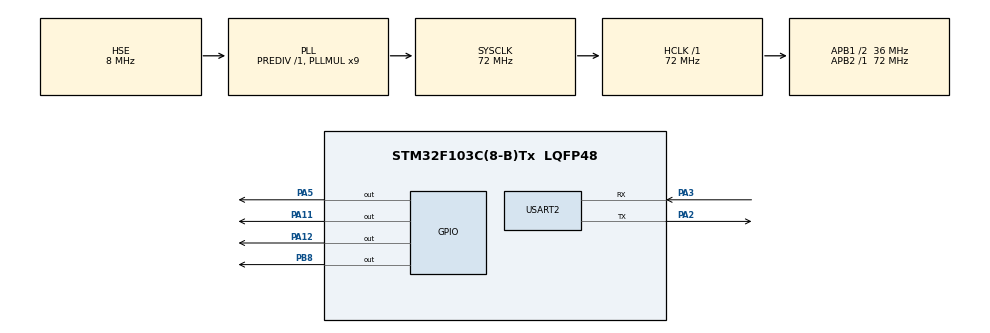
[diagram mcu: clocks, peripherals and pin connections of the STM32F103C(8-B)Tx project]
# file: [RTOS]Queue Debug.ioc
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FREERTOS.Tasks01=defaultTask,24,128,StartDefaultTask,Default,NULL,Dynamic,NULL,NULL;blinkLed2,8,128,StartTask02,Default,NULL,Dynamic,NULL,NULL;bilnkLed1,8,128,StartTask01,Default,NULL,Dynamic,NULL,NULL;UART2,8,128,StartTask03,Default,NULL,Dynamic,NULL,NULL
Mcu.Family=STM32F1
Mcu.Name=STM32F103C(8-B)Tx
Mcu.Package=LQFP48
NVIC.PriorityGroup=NVIC_PRIORITYGROUP_4
PA11.Signal=GPIO_Output
PA12.Signal=GPIO_Output
PA13.Mode=Serial_Wire
PA13.Signal=SYS_JTMS-SWDIO
PA14.Mode=Serial_Wire
PA14.Signal=SYS_JTCK-SWCLK
PA2.Mode=Asynchronous
PA2.Signal=USART2_TX
PA3.Mode=Asynchronous
PA3.Signal=USART2_RX
PA5.Signal=GPIO_Output
PB8.Signal=GPIO_Output
PD0-OSC_IN.Mode=HSE-External-Oscillator
PD0-OSC_IN.Signal=RCC_OSC_IN
PD1-OSC_OUT.Mode=HSE-External-Oscillator
PD1-OSC_OUT.Signal=RCC_OSC_OUT
ProjectManager.HeapSize=0x200
ProjectManager.StackSize=0x400
ProjectManager.TargetToolchain=STM32CubeIDE
RCC.AHBFreq_Value=72000000
RCC.APB1CLKDivider=RCC_HCLK_DIV2
RCC.APB1Freq_Value=36000000
RCC.APB1TimFreq_Value=72000000
RCC.APB2Freq_Value=72000000
RCC.APB2TimFreq_Value=72000000
RCC.HCLKFreq_Value=72000000
RCC.PLLMUL=RCC_PLL_MUL9
RCC.PLLSourceVirtual=RCC_PLLSOURCE_HSE
RCC.SYSCLKFreq_VALUE=72000000
RCC.SYSCLKSource=RCC_SYSCLKSOURCE_PLLCLK
RCC.USBFreq_Value=72000000
USART2.VirtualMode=VM_ASYNC
VP_FREERTOS_VS_CMSIS_V2.Mode=CMSIS_V2
board=custom

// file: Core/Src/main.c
/* USER CODE BEGIN Header */
/**
  ******************************************************************************
  * @file           : main.c
  * @brief          : Main program body
  ******************************************************************************
  * @attention
	Ví dụ này chỉ ra cách sử dụng queue, tận dụng queue để truyền dữ liệu liên tục với các giá trị 100 và 200 vào hàng đợi và đọc từ hàng đợi ngay khi hàng đợi có dữ liệu đồng thời in ra màn hình debug uart.
  *
  ******************************************************************************
  */
/* USER CODE END Header */
#include "main.h"
#include "cmsis_os.h"

/* USER CODE BEGIN Includes */
#include "string.h"
#include "stdio.h"
#include "stdint.h"
#include "stdlib.h"
/* USER CODE END Includes */
#include "queue.h"
#include "myLib.h"
#include "task.h"
#include "myRTOSaddons.h"

UART_HandleTypeDef huart2;

/* Definitions for blinkLed1 */
osThreadId_t blinkLed1Handle;
const osThreadAttr_t blinkLed1_attributes = {
    .name = "blinkLed1",
    .priority = (osPriority_t)osPriorityLow5,
    .stack_size = 32 * 4};
/* Definitions Sender Task*/
osThreadId_t SenderHandle1;
osThreadId_t SenderHandle2;
const osThreadAttr_t Sender_attributes = {
    .name = "Sender",
    .priority = (osPriority_t)osPriorityLow3,
    .stack_size = 128 * 4};
/* Definitions Receiver Task*/
osThreadId_t ReceiverHandle;
const osThreadAttr_t Receiver_attributes = {
    .name = "Receiver",
    .priority = (osPriority_t)osPriorityLow7, /* ReceiveTask is the highest priority task ==> Queue's always empty */
    .stack_size = 128 * 4};

/* USER CODE BEGIN PV */
osMessageQueueId_t queue_handle = NULL;
static uint32_t error_count = 0;
static uint32_t data_to_send[2] = {100, 200};
/* USER CODE END PV */

void SystemClock_Config(void);
static void MX_GPIO_Init(void);
static void MX_USART2_UART_Init(void);
void StartDefaultTask(void *argument);
void haltCheckLedTask(void *argument);
void senderTask(void *argument);
void receiverTask(void *argument);

int main(void)
{

  /* MCU Configuration--------------------------------------------------------*/

  /* Reset of all peripherals, Initializes the Flash interface and the Systick. */
  HAL_Init();

  /* Configure the system clock */
  SystemClock_Config();

  /* Initialize all configured peripherals */
  MX_GPIO_Init();
  MX_USART2_UART_Init();
  /* USER CODE BEGIN 2 */
  offAllLed;
  /* USER CODE END 2 */

  /* Init scheduler */
  osKernelInitialize();

  /* USER CODE BEGIN RTOS_QUEUES */
  /* add queues, ... */
  queue_handle = osMessageQueueNew(5, sizeof(uint32_t), NULL);
  if (queue_handle == NULL)
  {
    error_count++;
    PRINTF("Failed to create new queue\r\n");
  }
  /* USER CODE END RTOS_QUEUES */

  /* Create the thread(s) */

  /* creation of blinkLed1 */
  blinkLed1Handle = osThreadNew(haltCheckLedTask, NULL, &blinkLed1_attributes);

  /* USER CODE BEGIN RTOS_THREADS */
  /* creation of Sender task*/
  SenderHandle1 = osThreadNew(senderTask, (void *)data_to_send, &Sender_attributes);
  if (SenderHandle1 == NULL)
  {
    PRINTF("Failed creating senderTask1 \r\n");
    error_count++;
  }
  SenderHandle2 = osThreadNew(senderTask, (void *)(data_to_send + 1), &Sender_attributes);
  if (SenderHandle2 == NULL)
  {
    PRINTF("Failed creating senderTask2 \r\n");
    error_count++;
  }
  /* creation of Receiver task */
  ReceiverHandle = osThreadNew(receiverTask, NULL, &Receiver_attributes);
  if (ReceiverHandle == NULL)
  {
    PRINTF("Failed creating receiverTask \r\n");
    error_count++;
  }
  /* add threads, ... */
  printVar(error_count);
  /* USER CODE END RTOS_THREADS */

  /* Start scheduler */
  if (error_count == 0)
  {
    PRINTF("Start RTOS_Kernel\r\n");
    osKernelStart();
  }
  else
  {
    PRINTF("Failed to start RTOS_Kernel\r\n");
  }
  /* We should never get here as control is now taken by the scheduler */
  /* Infinite loop */
  while (1)
  {

  }
}

void SystemClock_Config(void)
{
  RCC_OscInitTypeDef RCC_OscInitStruct = {0};
  RCC_ClkInitTypeDef RCC_ClkInitStruct = {0};

  /** Initializes the RCC Oscillators according to the specified parameters
  * in the RCC_OscInitTypeDef structure.
  */
  RCC_OscInitStruct.OscillatorType = RCC_OSCILLATORTYPE_HSE;
  RCC_OscInitStruct.HSEState = RCC_HSE_ON;
  RCC_OscInitStruct.HSEPredivValue = RCC_HSE_PREDIV_DIV1;
  RCC_OscInitStruct.HSIState = RCC_HSI_ON;
  RCC_OscInitStruct.PLL.PLLState = RCC_PLL_ON;
  RCC_OscInitStruct.PLL.PLLSource = RCC_PLLSOURCE_HSE;
  RCC_OscInitStruct.PLL.PLLMUL = RCC_PLL_MUL9;
  if (HAL_RCC_OscConfig(&RCC_OscInitStruct) != HAL_OK)
  {
    Error_Handler();
  }
  /** Initializes the CPU, AHB and APB buses clocks
  */
  RCC_ClkInitStruct.ClockType = RCC_CLOCKTYPE_HCLK | RCC_CLOCKTYPE_SYSCLK | RCC_CLOCKTYPE_PCLK1 | RCC_CLOCKTYPE_PCLK2;
  RCC_ClkInitStruct.SYSCLKSource = RCC_SYSCLKSOURCE_PLLCLK;
  RCC_ClkInitStruct.AHBCLKDivider = RCC_SYSCLK_DIV1;
  RCC_ClkInitStruct.APB1CLKDivider = RCC_HCLK_DIV2;
  RCC_ClkInitStruct.APB2CLKDivider = RCC_HCLK_DIV1;

  if (HAL_RCC_ClockConfig(&RCC_ClkInitStruct, FLASH_LATENCY_2) != HAL_OK)
  {
    Error_Handler();
  }
}

static void MX_USART2_UART_Init(void)
{

  huart2.Instance = USART2;
  huart2.Init.BaudRate = 115200;
  huart2.Init.WordLength = UART_WORDLENGTH_8B;
  huart2.Init.StopBits = UART_STOPBITS_1;
  huart2.Init.Parity = UART_PARITY_NONE;
  huart2.Init.Mode = UART_MODE_TX_RX;
  huart2.Init.HwFlowCtl = UART_HWCONTROL_NONE;
  huart2.Init.OverSampling = UART_OVERSAMPLING_16;
  if (HAL_UART_Init(&huart2) != HAL_OK)
  {
    Error_Handler();
  }
}

static void MX_GPIO_Init(void)
{
  GPIO_InitTypeDef GPIO_InitStruct = {0};

  /* GPIO Ports Clock Enable */
  __HAL_RCC_GPIOD_CLK_ENABLE();
  __HAL_RCC_GPIOA_CLK_ENABLE();
  __HAL_RCC_GPIOB_CLK_ENABLE();

  /*Configure GPIO pin Output Level */
  HAL_GPIO_WritePin(GPIOA, GPIO_PIN_5 | GPIO_PIN_11 | GPIO_PIN_12, GPIO_PIN_RESET);

  /*Configure GPIO pin Output Level */
  HAL_GPIO_WritePin(GPIOB, GPIO_PIN_8, GPIO_PIN_RESET);

  /*Configure GPIO pins : PA5 PA11 PA12 */
  GPIO_InitStruct.Pin = GPIO_PIN_5 | GPIO_PIN_11 | GPIO_PIN_12;
  GPIO_InitStruct.Mode = GPIO_MODE_OUTPUT_PP;
  GPIO_InitStruct.Pull = GPIO_NOPULL;
  GPIO_InitStruct.Speed = GPIO_SPEED_FREQ_LOW;
  HAL_GPIO_Init(GPIOA, &GPIO_InitStruct);

  /*Configure GPIO pin : PB8 */
  GPIO_InitStruct.Pin = GPIO_PIN_8;
  GPIO_InitStruct.Mode = GPIO_MODE_OUTPUT_PP;
  GPIO_InitStruct.Pull = GPIO_NOPULL;
  GPIO_InitStruct.Speed = GPIO_SPEED_FREQ_LOW;
  HAL_GPIO_Init(GPIOB, &GPIO_InitStruct);
}

/* USER CODE BEGIN 4 */

/*senderTask */
/**

*/
/* USER CODE END Header_haltCheckLedTask */
void senderTask(void *argument)
{
  TickType_t block_time = pdMS_TO_TICKS(1000);
  /* USER CODE BEGIN haltCheckLedTask */
  BaseType_t status;
  /* Get parameter into variable */
  uint32_t *ul_value_to_send;
  ul_value_to_send = (uint32_t *)argument; /* Pointer to data */
  /* Infinite loop */
  for (;;)
  {
    PRINT_IN_TASK("SenderTask execute\r\n");
    (*ul_value_to_send)++;
      status = xQueueSendToBack(queue_handle, (void *)ul_value_to_send, 0);
    if (status != pdPASS)
    {
      PRINT_IN_TASK("Failed to send to queue\r\n");
    }
    osDelay(block_time); /* Task execute every block_time */
  }
  /* USER CODE END haltCheckLedTask */
}

/*receiverTask */
/**

*/
/* USER CODE END Header_haltCheckLedTask */
void receiverTask(void *argument)
{
  const TickType_t block_time = pdMS_TO_TICKS(10000);
  BaseType_t status;
  static uint32_t sequence_id = 0;
  uint32_t receive_data;
  uint8_t nb_data_on_queue = 0;
  /* Infinite loop */
  for (;;)
  {
    newline;
    ++sequence_id;
    PRINT_VAR_IN_TASK(sequence_id);
    /* receiverTask has no specified block_time ==> whenever new data arrives on queue, receive_data will be unblocked  */
    nb_data_on_queue = (uint8_t)uxQueueMessagesWaiting(queue_handle); /* Returns the number of items that are currently held in a queue */
    if (nb_data_on_queue != 0)
    {
      PRINT_IN_TASK("Queue should have been empty\r\n");
    }

    status = xQueueReceive(queue_handle, &receive_data, block_time);
    if (status == pdPASS)
    {
      PRINT_IN_TASK("Receive success!\r\n");
      PRINT_VAR_IN_TASK(receive_data);
    }
  }
  /* USER CODE END haltCheckLedTask */
}

/* USER CODE END 4 */

void StartDefaultTask(void *argument)
{
  for (;;)
  {
    osDelay(1);
  }
}

void haltCheckLedTask(void *argument)
{
  /* USER CODE BEGIN haltCheckLedTask */
  /* Infinite loop */
  for (;;)
  {
    toggleLed4; /* Led check chip halted */
    osDelay(1000);
  }
  /* USER CODE END haltCheckLedTask */
}

void Error_Handler(void)
{
}

/************************ (C) COPYRIGHT STMicroelectronics *****END OF FILE****/
